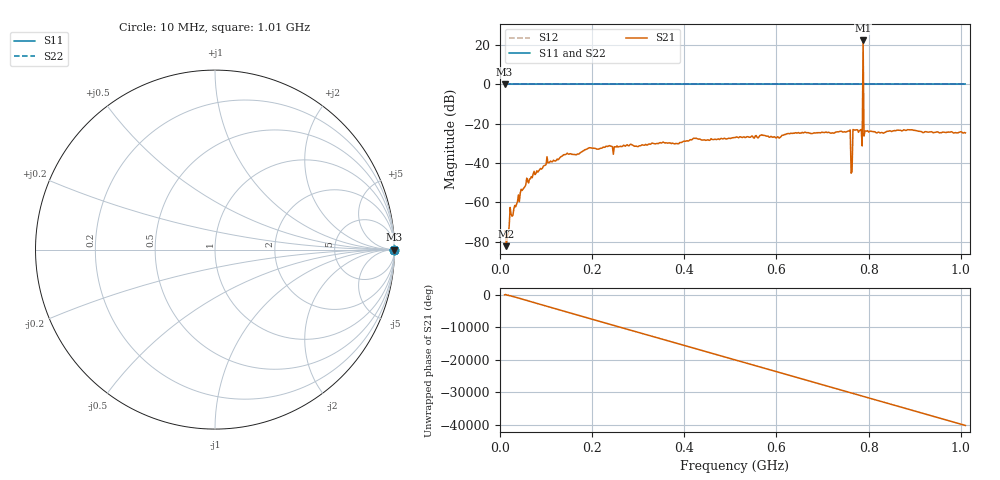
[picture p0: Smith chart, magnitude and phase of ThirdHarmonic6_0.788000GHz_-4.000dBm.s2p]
! 8/16/2025 2:17:15 AM
! C:\ANRITSUVNA\TEMP\TEMP.S2P
! CHANNEL.1
! TR.MEASUREMENT
! RAW.DATA
! RF.CORRECTION.OFF
! AVERAGING.OFF
! IF.BANDWIDTH: 5KHZ
! SWEEPTYPE:  FREQ.SWEEP(Linear)
! Reference Plane Port Info
! PORT:  PORT1  PORT2
! DISTANCE:  0  m  0  m
! TIME:  0  s  0  s
! PHASE.OFFSET:  0  deg.  0  deg.
! LOSS:  0  dB  0  dB
! REF.LOSS:  0  dB  0  dB
! REF.FREQ:  0  Hz  0  Hz
! Power Info
! POWER:  -20  dBm  -20  dBm
! EFF.POWER:  -20  dBm  -20  dBm
! SOURCE.ATTEN:  0  dB  0  dB
! TEST.ATTEN:  0  dB  0  dB
# GHZ S RI R 50.0
! FREQ.GHZ  S11RE  S11IM  S21RE  S21IM  S12RE  S12IM  S22RE  S22IM
!; PortSelection: Port_12
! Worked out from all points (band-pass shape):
!   501 points, 10 MHz to 1.01 GHz, reference 50 ohm
!   highest |S21| = 22.31 dB at 788 MHz (marker M1); lowest = -82.3 dB at 14 MHz (marker M2)
!   |S21| within 3 dB of the highest: 787.8881 MHz to 788.1234 MHz (235.3 kHz wide, 0.0299 % of centre)
!   lowest |S11| = 0.0 dB at 10 MHz (marker M3)
!   |S11| at or under -10 dB: nowhere
!   |S22| runs from 0.0 to 0.0 dB; largest |S21 - S12| = 13
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0.01  1 0  0.00012 -0.000141  1 0  1 0
0.014  1 0  6.41e-05 -4.15e-05  1 0  1 0
0.026  1 0  -0.000384 -0.000218  1 0  1 0
0.048  1 0  0.000534 0.00192  1 0  1 0
0.07  1 0  -0.00153 -0.00393  1 0  1 0
0.106  1 0  -0.0073 -0.00698  1 0  1 0
0.178  1 0  -0.0186 -0.00497  1 0  1 0
0.194  1 0  -0.00335 -0.0242  1 0  1 0
0.344  1 0  0.0305 -0.00611  1 0  1 0
0.51  1 0  -0.0422 0.0136  1 0  1 0
0.678  1 0  -0.0228 -0.0513  1 0  1 0
0.756  1 0  0.0625 -0.0175  1 0  1 0
0.76  1 0  -0.0689 -0.00418  1 0  1 0
0.766  1 0  0.0365 -0.0604  1 0  1 0
0.77  1 0  -0.0514 0.045  1 0  1 0
0.782  1 0  0.0661 0.0147  1 0  1 0
0.784  1 0  0.0265 -0.0657  1 0  1 0
0.788  1 0  -4.378 12.29  1 0  1 0
0.792  1 0  0.0534 -0.0343  1 0  1 0
0.794  1 0  -0.0268 -0.0598  1 0  1 0
0.844  1 0  0.0482 0.0436  1 0  1 0
1.01  1 0  -0.0564 -0.0139  1 0  1 0
